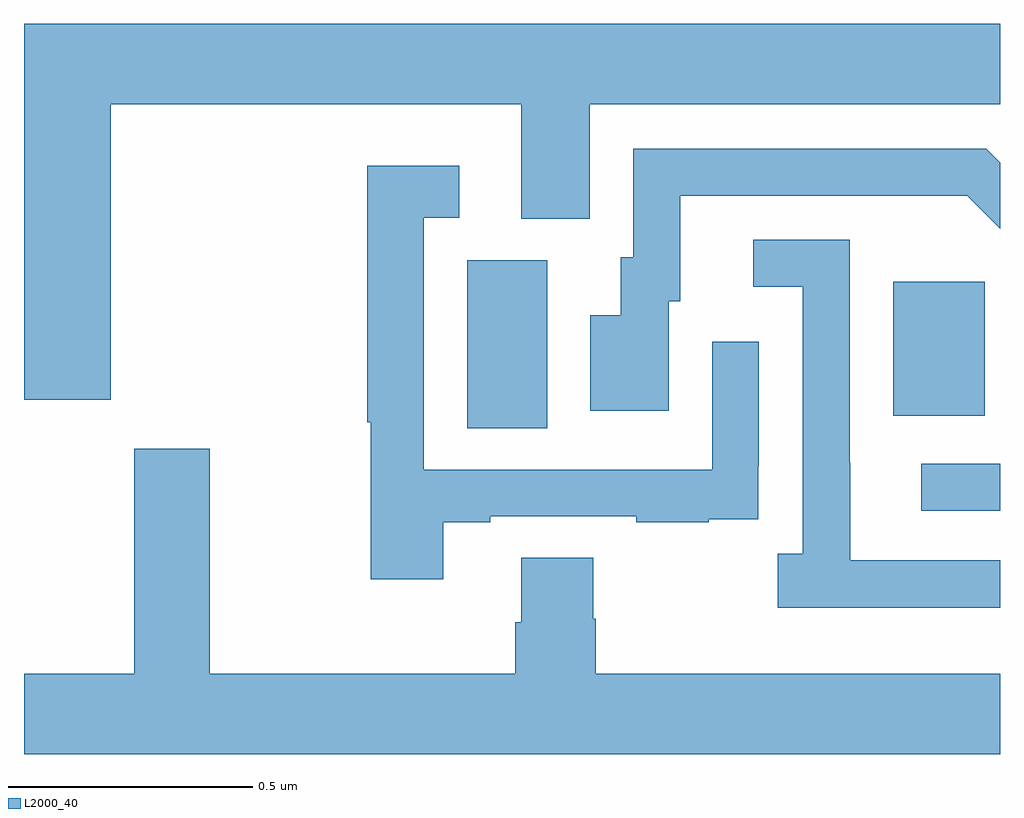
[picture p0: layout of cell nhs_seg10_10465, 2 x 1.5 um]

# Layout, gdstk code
import gdstk
lib = gdstk.Library(unit=1e-6, precision=1e-09)
def R(c, l, rs):  # rectangles x0, y0, x1, y1
    for r in rs: c.add(gdstk.rectangle(r[:2], r[2:], *l))
def P(c, l, *ps):  # polygons
    for p in ps: c.add(gdstk.Polygon(p, *l))
L2000_40 = (2000, 40)

nhs_seg10_10465 = lib.new_cell('nhs_seg10_10465')
R(nhs_seg10_10465, L2000_40, [(244.839,1258.191,245,1258.287), (243.908,1258.36,244.072,1258.704), (244.781,1258.385,244.969,1258.66)])
P(nhs_seg10_10465, L2000_40, [(243.178,1259.024),(244.019,1259.024),(244.019,1258.789),(244.159,1258.789),(244.159,1259.024),(245,1259.024),(245,1259.188),(243,1259.188),(243,1258.418),(243.178,1258.418)],
  [(244.321,1258.62),(244.345,1258.62),(244.345,1258.836),(244.933,1258.836),(245,1258.768),(245,1258.904),(244.972,1258.932),(244.248,1258.932),(244.248,1258.71),(244.223,1258.71),(244.223,1258.591),(244.16,1258.591),(244.16,1258.395),(244.321,1258.395)],
  [(243.859,1258.167),(243.955,1258.167),(243.955,1258.179),(244.255,1258.179),(244.255,1258.167),(244.403,1258.167),(244.403,1258.173),(244.505,1258.173),(244.505,1258.282),(244.506,1258.282),(244.506,1258.537),(244.41,1258.537),(244.41,1258.275),(243.819,1258.275),(243.819,1258.791),(243.892,1258.791),(243.892,1258.897),(243.703,1258.897),(243.703,1258.372),(243.711,1258.372),(243.711,1258.05),(243.859,1258.05)],
  [(245,1258.089),(244.693,1258.089),(244.693,1258.289),(244.692,1258.289),(244.692,1258.746),(244.494,1258.746),(244.494,1258.65),(244.596,1258.65),(244.596,1258.102),(244.545,1258.102),(244.545,1257.992),(245,1257.992)],
  [(245,1257.856),(244.172,1257.856),(244.172,1257.969),(244.167,1257.969),(244.167,1258.094),(244.019,1258.094),(244.019,1257.962),(244.007,1257.962),(244.007,1257.856),(243.381,1257.856),(243.381,1258.318),(243.226,1258.318),(243.226,1257.856),(243,1257.856),(243,1257.692),(245,1257.692)])

lib.write_gds('nhs_seg10_10465.gds')
